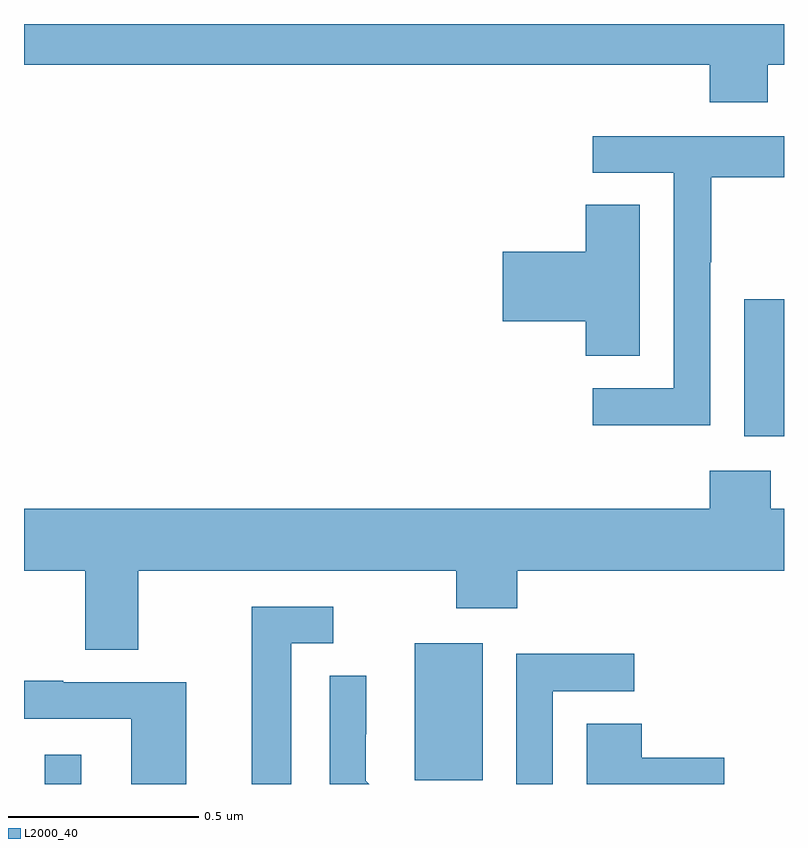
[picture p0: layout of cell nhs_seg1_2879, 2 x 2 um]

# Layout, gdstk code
import gdstk
lib = gdstk.Library(unit=1e-6, precision=1e-09)
def R(c, l, rs):  # rectangles x0, y0, x1, y1
    for r in rs: c.add(gdstk.rectangle(r[:2], r[2:], *l))
def P(c, l, *ps):  # polygons
    for p in ps: c.add(gdstk.Polygon(p, *l))
L2000_40 = (2000, 40)

nhs_seg1_2879 = lib.new_cell('nhs_seg1_2879')
R(nhs_seg1_2879, L2000_40, [(147.054,523.199,147.151,523.276), (148.028,523.209,148.207,523.57), (148.895,524.114,149,524.475)])
P(nhs_seg1_2879, L2000_40, [(148.957,525.092),(149,525.092),(149,525.199),(147,525.199),(147,525.092),(148.805,525.092),(148.805,524.993),(148.957,524.993)],
  [(148.806,524.572),(148.809,524.572),(148.809,524.796),(149,524.796),(149,524.904),(148.497,524.904),(148.497,524.808),(148.71,524.808),(148.71,524.241),(148.497,524.241),(148.497,524.143),(148.806,524.143)],
  [(148.621,524.723),(148.478,524.723),(148.478,524.6),(148.26,524.6),(148.26,524.417),(148.478,524.417),(148.478,524.326),(148.621,524.326)],
  [(147.301,523.76),(148.138,523.76),(148.138,523.661),(148.298,523.661),(148.298,523.76),(149,523.76),(149,523.924),(148.965,523.924),(148.965,524.023),(148.805,524.023),(148.805,523.924),(147,523.924),(147,523.76),(147.161,523.76),(147.161,523.552),(147.301,523.552)],
  [(147.703,523.569),(147.814,523.569),(147.814,523.665),(147.599,523.665),(147.599,523.199),(147.703,523.199)],
  [(148.392,523.443),(148.606,523.443),(148.606,523.542),(148.296,523.542),(148.296,523.199),(148.392,523.199)],
  [(147.899,523.208),(147.899,523.33),(147.9,523.33),(147.9,523.484),(147.804,523.484),(147.804,523.199),(147.908,523.199)],
  [(147.427,523.467),(147.103,523.467),(147.103,523.471),(147,523.471),(147,523.371),(147.282,523.371),(147.282,523.199),(147.427,523.199)],
  [(148.843,523.268),(148.625,523.268),(148.625,523.358),(148.481,523.358),(148.481,523.199),(148.843,523.199)])

lib.write_gds('nhs_seg1_2879.gds')
